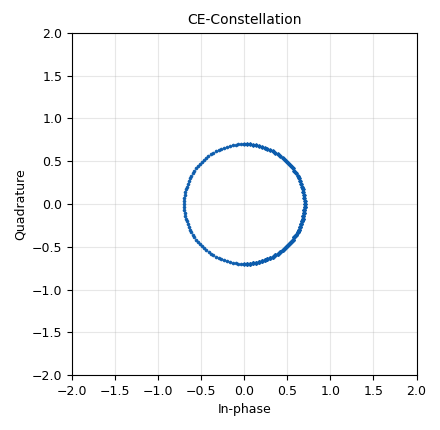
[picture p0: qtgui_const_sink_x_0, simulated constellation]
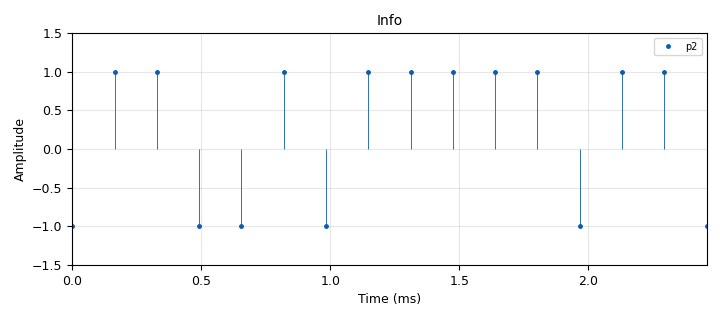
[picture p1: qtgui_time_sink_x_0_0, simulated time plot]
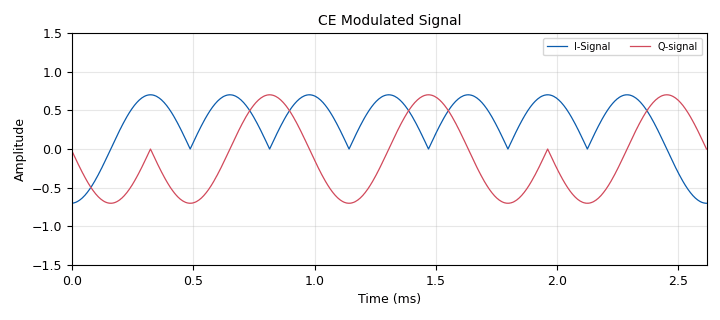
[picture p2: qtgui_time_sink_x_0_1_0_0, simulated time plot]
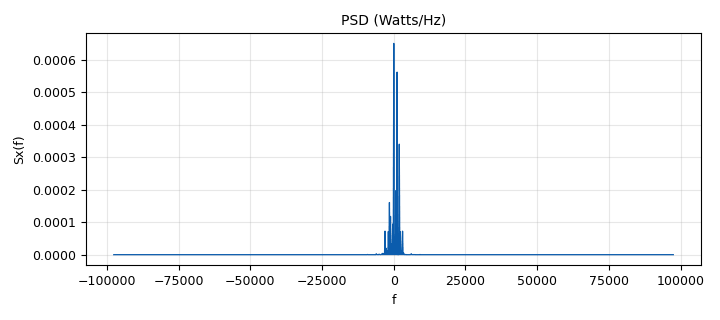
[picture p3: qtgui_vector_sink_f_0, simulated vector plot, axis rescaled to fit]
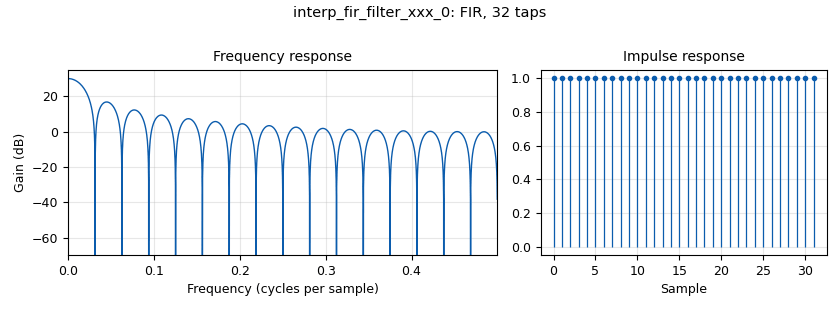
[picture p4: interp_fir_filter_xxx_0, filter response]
options:
  parameters:
    author: radiogis_director
    generate_options: qt_gui
    id: msk
    output_language: python
    title: msk
  states: {}

blocks:
- name: BW
  id: variable
  parameters:
    value: samp_rate/2
  states: {}
- name: Cps
  id: variable
  parameters:
    value: 1/4
  states: {}
- name: L_info
  id: variable
  parameters:
    value: len(info)
  states: {}
- name: N
  id: variable
  parameters:
    value: '1024'
  states: {}
- name: Rb
  id: variable
  parameters:
    value: samp_rate/Sps
  states: {}
- name: Spc
  id: variable
  parameters:
    value: '128'
  states: {}
- name: Sps
  id: variable
  parameters:
    value: int(Cps*Spc)
  states: {}
- name: fc
  id: variable
  parameters:
    value: 95.7e6
  states: {}
- name: fd
  id: variable
  parameters:
    value: Rb*Cps
  states: {}
- name: h
  id: variable
  parameters:
    value: '[1]*Sps'
  states: {}
- name: info
  id: variable
  parameters:
    value: (0,1,1,0, 0,1,0,1, 1,1,1,1,  0,1,1,0)
  states: {}
- name: samp_rate
  id: variable
  parameters:
    value: '195312.5'
  states: {}
- name: Menu
  id: qtgui_tab_widget
  parameters:
    gui_hint: 4,0,1,2
    label0: Message
    label1: Baseband Modulated.Time
    label2: Baseband Modulated. Freq
    label3: Constellation
    label4: Eye Diagram
    num_tabs: '5'
  states: {}
- name: analog_const_source_x_0
  id: analog_const_source_x
  parameters:
    const: '0.7'
    type: float
  states: {}
- name: analog_random_source_x_0
  id: analog_random_source_x
  parameters:
    max: '2'
    min: '0'
    num_samps: '1000000'
    repeat: 'True'
    type: byte
  states: {state: disabled}
- name: b_upconverter_cf_0
  id: b_upconverter_cf
  parameters:
    Fc: Rb*7/4
    samp_rate: samp_rate
  states: {}
- name: blocks_add_const_vxx_0
  id: blocks_add_const_vxx
  parameters:
    const: '-0.5'
    type: float
  states: {}
- name: blocks_char_to_float_0
  id: blocks_char_to_float
  parameters:
    scale: '1'
  states: {}
- name: blocks_complex_to_mag_squared_0
  id: blocks_complex_to_mag_squared
  parameters:
    vlen: N
  states: {}
- name: blocks_multiply_const_vxx_0
  id: blocks_multiply_const_vxx
  parameters:
    const: 2*math.pi*fd/(Rb*Sps)
    type: float
  states: {}
- name: blocks_multiply_const_vxx_0_0
  id: blocks_multiply_const_vxx
  parameters:
    const: '2'
    type: float
  states: {}
- name: blocks_multiply_const_vxx_1
  id: blocks_multiply_const_vxx
  parameters:
    const: '[1/(N*samp_rate)]*N'
    type: float
    vlen: N
  states: {}
- name: blocks_null_sink_0
  id: blocks_null_sink
  parameters:
    type: complex
  states: {}
- name: blocks_stream_to_vector_0
  id: blocks_stream_to_vector
  parameters:
    num_items: N
    type: complex
  states: {}
- name: blocks_vector_source_x_0
  id: blocks_vector_source_x
  parameters:
    repeat: 'True'
    type: byte
    vector: info
  states: {}
- name: epy_block_0
  id: epy_block
  parameters:
    N: N
    _source_code: |
      import numpy as np
      from gnuradio import gr


      class blk(gr.sync_block):  
          """vector averager. N is the lengh of the vector"""

          def __init__(self, N=1024):
              gr.sync_block.__init__(
                  self,
                  name='e_vec_averager_ff',   
                  in_sig=[(np.float32,N)],
                  out_sig=[(np.float32,N)]
              )
              self.N = N
              self.rows_counter=0
              self.sum=0

          def work(self, input_items, output_items):
              x=input_items[0]
              y=output_items[0]
              self.sum += np.sum(x, axis=0)
              self.rows_counter += len(x)
              y[:]=self.sum/self.rows_counter
              return len(output_items[0])
  states: {}
- name: epy_block_0_0
  id: epy_block
  parameters:
    _source_code: |
      import numpy as np
      from gnuradio import gr
      import math

      class blk(gr.sync_block):  
          """This block is a CE VCO or baseband VCO and works as following: ….."""

          def __init__(self,):  
              gr.sync_block.__init__(
                  self,
                  name='e_CE_VCO_fc',   
                  in_sig=[np.float32, np.float32],
                  out_sig=[np.complex64]
              )
              
          def work(self, input_items, output_items):
              A=input_items[0]
              Q=input_items[1]
              y=output_items[0]
              N=len(A)
              y[:]=A*np.exp(1j*Q)
              return len(output_items[0])
  states: {}
- name: epy_block_0_1
  id: epy_block
  parameters:
    _source_code: |
      """
      Embedded Python Blocks:

      Each time this file is saved, GRC will instantiate the first class it finds
      to get ports and parameters of your block. The arguments to __init__  will
      be the parameters. All of them are required to have default values!
      """

      import numpy as np
      from gnuradio import gr


      class blk(gr.sync_block):  # other base classes are basic_block, decim_block, interp_block
          """Embedded Python Block example - a simple multiply const"""

          def __init__(self,):  # only default arguments here
              """arguments to this function show up as parameters in GRC"""
              gr.sync_block.__init__(
                  self,
                  name='e_Acum',   # will show up in GRC
                  in_sig=[np.float32],
                  out_sig=[np.float32]
              )
              self.acum=0
              
          def work(self, input_items, output_items):
              x=input_items[0]
              y= output_items[0]


              y[:]=self.acum+np.cumsum(x)
              self.acum=y[-1]
              return len(y)
  states: {}
- name: fft_vxx_0
  id: fft_vxx
  parameters:
    fft_size: N
    forward: 'True'
    shift: 'True'
    type: complex
    window: '[1]*N'
  states: {}
- name: import_0
  id: import
  parameters:
    imports: import math
  states: {}
- name: import_0_0
  id: import
  parameters:
    imports: import numpy as np
  states: {}
- name: interp_fir_filter_xxx_0
  id: interp_fir_filter_xxx
  parameters:
    interp: Sps
    taps: h
    type: fff
  states: {}
- name: qtgui_const_sink_x_0
  id: qtgui_const_sink_x
  parameters:
    gui_hint: Menu@3:3,1,1,1
    name: '"CE-Constellation"'
    size: '1024'
    type: complex
    width1: '2'
  states: {}
- name: qtgui_freq_sink_x_0_0
  id: qtgui_freq_sink_x
  parameters:
    average: '0.05'
    bw: samp_rate
    fc: '0'
    fftsize: 1024*8
    gui_hint: Menu@2:3,1,1,1
    label1: CE-Modulated Signal
    type: complex
    width1: '2'
    ymax: '-35'
    ymin: '-65'
  states: {state: disabled}
- name: qtgui_time_sink_x_0_0
  id: qtgui_time_sink_x
  parameters:
    gui_hint: Menu@0:3,1,1,1
    label1: p2
    marker1: '0'
    name: '"Info"'
    size: '16'
    srate: Rb
    stemplot: 'True'
    type: float
    width1: '3'
    ymax: '1.5'
    ymin: '-1.5'
  states: {}
- name: qtgui_time_sink_x_0_1
  id: qtgui_time_sink_x
  parameters:
    gui_hint: Menu@1:2,1,1,1
    label1: Info in rectangular form
    label2: RF Modulated signal
    name: ''
    nconnections: '2'
    size: 16*Sps
    srate: samp_rate
    type: float
    width1: '3'
    ymax: '1.5'
    ymin: '-1.5'
  states: {}
- name: qtgui_time_sink_x_0_1_0
  id: qtgui_time_sink_x
  parameters:
    gui_hint: Menu@1:4,1,1,1
    label1: p1
    name: Rf Modulated Signal
    size: 16*Sps
    srate: samp_rate
    type: float
    width1: '3'
    ymax: '1.5'
    ymin: '-1.5'
  states: {state: disabled}
- name: qtgui_time_sink_x_0_1_0_0
  id: qtgui_time_sink_x
  parameters:
    gui_hint: Menu@1:3,1,1,1
    label1: I-Signal
    label2: Q-signal
    name: CE Modulated Signal
    size: 16*Sps
    srate: samp_rate
    type: complex
    width1: '2'
    width2: '2'
    ymax: '1.5'
    ymin: '-1.5'
  states: {}
- name: qtgui_vector_sink_f_0
  id: qtgui_vector_sink_f
  parameters:
    gui_hint: Menu@2:3,1,1,1
    label1: p4
    name: '"PSD (Watts/Hz)"'
    vlen: N
    width1: '3'
    x_axis_label: '"f"'
    x_start: '-samp_rate/2'
    x_step: samp_rate/N
    x_units: '"Hz"'
    y_axis_label: '"Sx(f)"'
    y_units: '"Watss/Hz"'
    ymax: '1.5e-5'
    ymin: '0'
  states: {}
- name: uhd_usrp_sink_0
  id: uhd_usrp_sink
  parameters:
    ant0: '"TX/RX"'
    center_freq0: fc
    gain0: '20'
    samp_rate: samp_rate
    sync: none
    type: fc32
  states: {state: disabled}
- name: virtual_sink_0_0
  id: virtual_sink
  parameters:
    stream_id: p2
  states: {}
- name: virtual_sink_0_0_0
  id: virtual_sink
  parameters:
    stream_id: p3
  states: {}
- name: virtual_sink_0_0_0_0_0
  id: virtual_sink
  parameters:
    stream_id: p4b
  states: {}
- name: virtual_source_0_0
  id: virtual_source
  parameters:
    stream_id: p2
  states: {}
- name: virtual_source_0_1
  id: virtual_source
  parameters:
    stream_id: p3
  states: {}
- name: virtual_source_0_1_0_0
  id: virtual_source
  parameters:
    stream_id: p4b
  states: {}

connections:
- [analog_const_source_x_0, '0', epy_block_0_0, '0']
- [analog_random_source_x_0, '0', blocks_char_to_float_0, '0']
- [b_upconverter_cf_0, '0', qtgui_time_sink_x_0_1, '1']
- [b_upconverter_cf_0, '0', qtgui_time_sink_x_0_1_0, '0']
- [blocks_add_const_vxx_0, '0', blocks_multiply_const_vxx_0_0, '0']
- [blocks_char_to_float_0, '0', blocks_add_const_vxx_0, '0']
- [blocks_complex_to_mag_squared_0, '0', epy_block_0, '0']
- [blocks_multiply_const_vxx_0, '0', epy_block_0_0, '1']
- [blocks_multiply_const_vxx_0_0, '0', interp_fir_filter_xxx_0, '0']
- [blocks_multiply_const_vxx_0_0, '0', virtual_sink_0_0, '0']
- [blocks_multiply_const_vxx_1, '0', qtgui_vector_sink_f_0, '0']
- [blocks_stream_to_vector_0, '0', fft_vxx_0, '0']
- [blocks_vector_source_x_0, '0', blocks_char_to_float_0, '0']
- [epy_block_0, '0', blocks_multiply_const_vxx_1, '0']
- [epy_block_0_0, '0', blocks_null_sink_0, '0']
- [epy_block_0_0, '0', uhd_usrp_sink_0, '0']
- [epy_block_0_0, '0', virtual_sink_0_0_0_0_0, '0']
- [epy_block_0_1, '0', blocks_multiply_const_vxx_0, '0']
- [fft_vxx_0, '0', blocks_complex_to_mag_squared_0, '0']
- [interp_fir_filter_xxx_0, '0', epy_block_0_1, '0']
- [interp_fir_filter_xxx_0, '0', virtual_sink_0_0_0, '0']
- [virtual_source_0_0, '0', qtgui_time_sink_x_0_0, '0']
- [virtual_source_0_1, '0', qtgui_time_sink_x_0_1, '0']
- [virtual_source_0_1_0_0, '0', b_upconverter_cf_0, '0']
- [virtual_source_0_1_0_0, '0', blocks_stream_to_vector_0, '0']
- [virtual_source_0_1_0_0, '0', qtgui_const_sink_x_0, '0']
- [virtual_source_0_1_0_0, '0', qtgui_freq_sink_x_0_0, '0']
- [virtual_source_0_1_0_0, '0', qtgui_time_sink_x_0_1_0_0, '0']

metadata:
  file_format: 1
